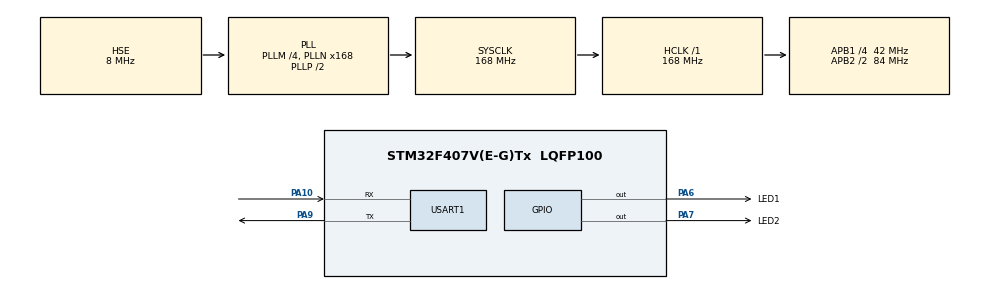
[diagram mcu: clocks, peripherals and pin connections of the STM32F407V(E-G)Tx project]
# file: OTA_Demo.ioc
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Mcu.Family=STM32F4
Mcu.Name=STM32F407V(E-G)Tx
Mcu.Package=LQFP100
NVIC.PriorityGroup=NVIC_PRIORITYGROUP_4
NVIC.USART1_IRQn=true\:0\:0\:false\:false\:true\:true\:true
PA10.Mode=Asynchronous
PA10.Signal=USART1_RX
PA6.GPIO_Label=LED1
PA6.GPIO_PuPd=GPIO_PULLUP
PA6.PinState=GPIO_PIN_SET
PA6.Signal=GPIO_Output
PA7.GPIO_Label=LED2
PA7.GPIO_PuPd=GPIO_PULLUP
PA7.PinState=GPIO_PIN_SET
PA7.Signal=GPIO_Output
PA9.Mode=Asynchronous
PA9.Signal=USART1_TX
PC14-OSC32_IN.Mode=LSE-External-Oscillator
PC14-OSC32_IN.Signal=RCC_OSC32_IN
PC15-OSC32_OUT.Mode=LSE-External-Oscillator
PC15-OSC32_OUT.Signal=RCC_OSC32_OUT
PH0-OSC_IN.Mode=HSE-External-Oscillator
PH0-OSC_IN.Signal=RCC_OSC_IN
PH1-OSC_OUT.Mode=HSE-External-Oscillator
PH1-OSC_OUT.Signal=RCC_OSC_OUT
ProjectManager.HeapSize=0x200
ProjectManager.StackSize=0x400
ProjectManager.TargetToolchain=MDK-ARM V5.32
RCC.48MHZClocksFreq_Value=84000000
RCC.AHBFreq_Value=168000000
RCC.APB1CLKDivider=RCC_HCLK_DIV4
RCC.APB1Freq_Value=42000000
RCC.APB1TimFreq_Value=84000000
RCC.APB2CLKDivider=RCC_HCLK_DIV2
RCC.APB2Freq_Value=84000000
RCC.APB2TimFreq_Value=168000000
RCC.CortexFreq_Value=168000000
RCC.HCLKFreq_Value=168000000
RCC.HSE_VALUE=8000000
RCC.HSI_VALUE=16000000
RCC.PLLM=4
RCC.PLLN=168
RCC.PLLSourceVirtual=RCC_PLLSOURCE_HSE
RCC.SYSCLKFreq_VALUE=168000000
RCC.SYSCLKSource=RCC_SYSCLKSOURCE_PLLCLK
RCC.VCOOutputFreq_Value=336000000
USART1.VirtualMode=VM_ASYNC
board=custom

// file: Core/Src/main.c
/* USER CODE BEGIN Header */
/**
 ******************************************************************************
 * @file           : main.c
 * @brief          : Main program body
 ******************************************************************************
 * @attention
 *
 * <h2><center>&copy; Copyright (c) 2021 STMicroelectronics.
 * All rights reserved.</center></h2>
 *
 * This software component is licensed by ST under BSD 3-Clause license,
 * the "License"; You may not use this file except in compliance with the
 * License. You may obtain a copy of the License at:
 *                        opensource.org/licenses/BSD-3-Clause
 *
 ******************************************************************************
 */
/* USER CODE END Header */
#include "main.h"
#include "usart.h"
#include "gpio.h"

/* USER CODE BEGIN Includes */
#include "stdio.h" //得先包含
#include "string.h"
#include "stm_flash.h"
#include "bsp.h"
#include "bsp_gpio.h"
#include "community.h"
/* USER CODE END Includes */

/* USER CODE BEGIN PV */

//库函数版�???

#define PUTCHAR_PROTOTYPE int fputc(int ch, FILE *f)

PUTCHAR_PROTOTYPE
{
  //具体哪个串口可以更改huart1为其它串�???
  HAL_UART_Transmit(&huart1, (uint8_t *)&ch, 1, 0xffff);
  return ch;
}

/* USER CODE END PV */

void SystemClock_Config(void);

/* USER CODE BEGIN 0 */
static void OutPutData(uint8_t *add, int len)
{
  for (int i = 0; i < len; i++)
  {
    printf("%x ", add[i]);
    if (i && !(i % 10))
      printf("\r\n");
  }
  printf("\r\n");
}
/* USER CODE END 0 */

int main(void)
{
  /* USER CODE BEGIN 1 */
  SCB->VTOR = 0x8010000; //设置偏移�?

  bsp_init();

  /* USER CODE END 1 */

  /* MCU Configuration--------------------------------------------------------*/

  /* Reset of all peripherals, Initializes the Flash interface and the Systick. */
  HAL_Init();

  /* Configure the system clock */
  SystemClock_Config();

  /* Initialize all configured peripherals */
  MX_GPIO_Init();
  MX_USART1_UART_Init();
  /* USER CODE BEGIN 2 */
  // start_autotimer(0, 50);
  g_LedList.setupLedMode(0, Heartbeat);
  /* USER CODE END 2 */

  /* Infinite loop */
  /* USER CODE BEGIN WHILE */
  printf("This is new App.\n\r");
  while (1)
  {
    if (comm_pipe.bit.Led_TODO)
    {
      comm_pipe.bit.Led_TODO = 0;
      Led_CheckMode();
    }
    /* USER CODE END WHILE */

  }
}

void SystemClock_Config(void)
{
  RCC_OscInitTypeDef RCC_OscInitStruct = {0};
  RCC_ClkInitTypeDef RCC_ClkInitStruct = {0};

  /** Configure the main internal regulator output voltage
  */
  __HAL_RCC_PWR_CLK_ENABLE();
  __HAL_PWR_VOLTAGESCALING_CONFIG(PWR_REGULATOR_VOLTAGE_SCALE1);
  /** Initializes the RCC Oscillators according to the specified parameters
  * in the RCC_OscInitTypeDef structure.
  */
  RCC_OscInitStruct.OscillatorType = RCC_OSCILLATORTYPE_HSE;
  RCC_OscInitStruct.HSEState = RCC_HSE_ON;
  RCC_OscInitStruct.PLL.PLLState = RCC_PLL_ON;
  RCC_OscInitStruct.PLL.PLLSource = RCC_PLLSOURCE_HSE;
  RCC_OscInitStruct.PLL.PLLM = 4;
  RCC_OscInitStruct.PLL.PLLN = 168;
  RCC_OscInitStruct.PLL.PLLP = RCC_PLLP_DIV2;
  RCC_OscInitStruct.PLL.PLLQ = 4;
  if (HAL_RCC_OscConfig(&RCC_OscInitStruct) != HAL_OK)
  {
    Error_Handler();
  }
  /** Initializes the CPU, AHB and APB buses clocks
  */
  RCC_ClkInitStruct.ClockType = RCC_CLOCKTYPE_HCLK|RCC_CLOCKTYPE_SYSCLK
                              |RCC_CLOCKTYPE_PCLK1|RCC_CLOCKTYPE_PCLK2;
  RCC_ClkInitStruct.SYSCLKSource = RCC_SYSCLKSOURCE_PLLCLK;
  RCC_ClkInitStruct.AHBCLKDivider = RCC_SYSCLK_DIV1;
  RCC_ClkInitStruct.APB1CLKDivider = RCC_HCLK_DIV4;
  RCC_ClkInitStruct.APB2CLKDivider = RCC_HCLK_DIV2;

  if (HAL_RCC_ClockConfig(&RCC_ClkInitStruct, FLASH_LATENCY_5) != HAL_OK)
  {
    Error_Handler();
  }
}

void Error_Handler(void)
{
  __disable_irq();
  while (1)
  {
  }
}

/************************ (C) COPYRIGHT STMicroelectronics *****END OF FILE****/
